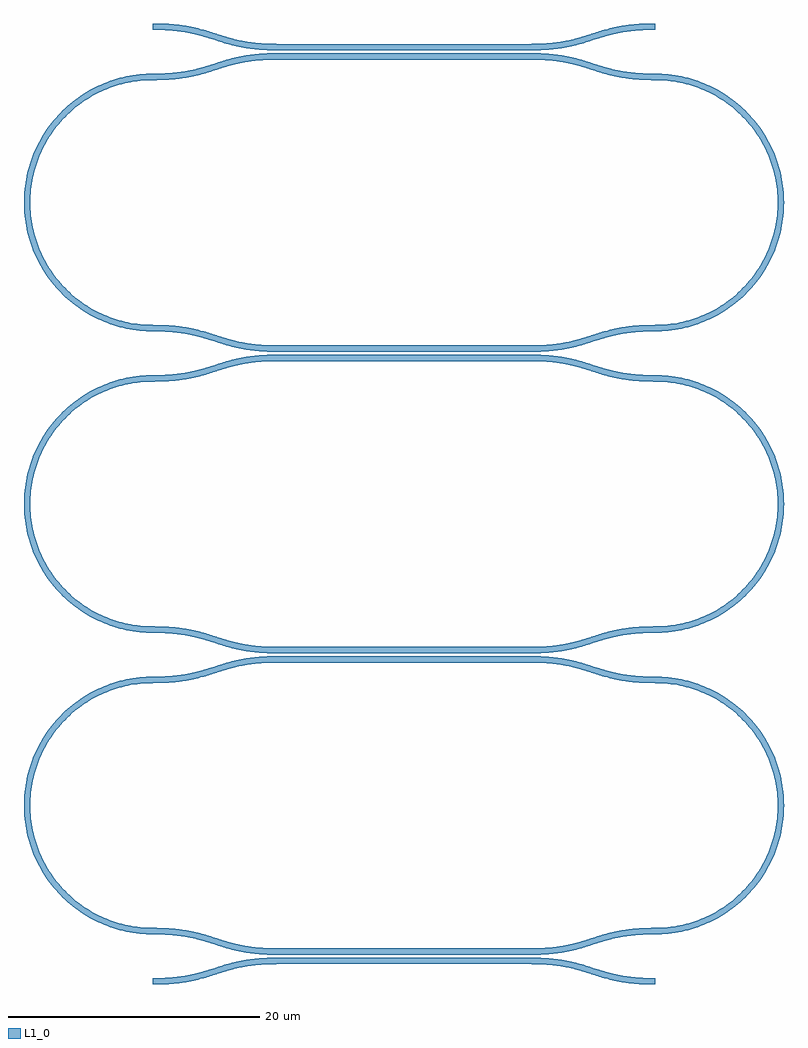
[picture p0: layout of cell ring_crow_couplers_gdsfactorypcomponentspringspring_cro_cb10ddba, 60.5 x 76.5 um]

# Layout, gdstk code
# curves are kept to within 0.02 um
from math import pi, radians
import gdstk
lib = gdstk.Library(unit=1e-6, precision=1e-09)
def P(c, l, *ps):  # polygons
    for p in ps: c.add(gdstk.Polygon(p, *l))
L1_0 = (1, 0)

coupler_gdsfactorypcompo = lib.new_cell('coupler_gdsfactorypcomponentspcouplerspcoupler_G0p236_L_75dd060a')
P(coupler_gdsfactorypcompo, L1_0, [(-10,-1.882),(-10,-1.382),(-8.633,-1.335),(-7.417,-1.193),(-6.249,-0.938),(-4.05,-0.258),(-3.065,-0.019),(-1.652,0.182),(-0.303,0.248),(20,0.25),(21.144,0.219),(22.346,0.103),(23.349,-0.08),(24.296,-0.33),(26.086,-0.893),(27.222,-1.159),(28.511,-1.326),(30,-1.382),(30,-1.882),(28.856,-1.851),(27.877,-1.764),(27.032,-1.632),(26.291,-1.466),(23.994,-0.762),(23.059,-0.528),(22.062,-0.364),(20.854,-0.267),(-0.297,-0.252),(-1.725,-0.327),(-3.059,-0.528),(-3.994,-0.762),(-6.034,-1.397),(-7.335,-1.686),(-8.597,-1.834)],
  [(0,0.486),(-1.403,0.534),(-2.665,0.682),(-3.796,0.925),(-6.086,1.629),(-7.126,1.877),(-8.511,2.062),(-10,2.118),(-10,2.618),(-8.597,2.57),(-7.335,2.422),(-6.204,2.179),(-3.914,1.475),(-2.874,1.227),(-1.489,1.042),(0,0.986),(20,0.986),(21.116,1.016),(22.17,1.114),(23.24,1.303),(24.152,1.545),(25.95,2.11),(27.032,2.368),(28.348,2.55),(30,2.618),(30,2.118),(28.511,2.062),(27.222,1.895),(26.086,1.629),(24.296,1.066),(23.532,0.858),(22.56,0.665),(21.403,0.534),(20,0.486)])

bend_circular_gdsfactory = lib.new_cell('bend_circular_gdsfactorypcomponentspbendspbend_circular_35685adf')
P(bend_circular_gdsfactory, L1_0, [(0,-0.25),(0,0.25),(1.003,0.302),(1.994,0.456),(3.203,0.791),(4.133,1.169),(5.019,1.641),(5.649,2.053),(6.246,2.513),(6.805,3.018),(7.487,3.754),(7.947,4.351),(8.359,4.981),(8.721,5.641),(9.209,6.797),(9.489,7.761),(9.669,8.748),(9.75,10),(10.25,10),(10.196,8.946),(10.084,8.162),(9.842,7.135),(9.495,6.139),(9.169,5.417),(8.649,4.499),(8.037,3.639),(7.341,2.846),(6.566,2.129),(5.722,1.496),(4.817,0.953),(3.861,0.505),(2.865,0.158),(1.838,-0.084),(1.054,-0.196)])

ring_crow_couplers_gdsfa = lib.new_cell('ring_crow_couplers_gdsfactorypcomponentspringspring_cro_cb10ddba')
ring_crow_couplers_gdsfa.add(gdstk.Reference(coupler_gdsfactorypcompo, (0,0)))
ring_crow_couplers_gdsfa.add(gdstk.Reference(coupler_gdsfactorypcompo, (0,24)))
ring_crow_couplers_gdsfa.add(gdstk.Reference(coupler_gdsfactorypcompo, (0,48)))
ring_crow_couplers_gdsfa.add(gdstk.Reference(coupler_gdsfactorypcompo, (0,72)))
ring_crow_couplers_gdsfa.add(gdstk.Reference(bend_circular_gdsfactory, (30,2.368)))
ring_crow_couplers_gdsfa.add(gdstk.Reference(bend_circular_gdsfactory, (40,12.368), rotation=pi/2))
ring_crow_couplers_gdsfa.add(gdstk.Reference(bend_circular_gdsfactory, (-10,22.368), rotation=pi))
ring_crow_couplers_gdsfa.add(gdstk.Reference(bend_circular_gdsfactory, (-20,12.368), rotation=3*pi/2))
ring_crow_couplers_gdsfa.add(gdstk.Reference(bend_circular_gdsfactory, (30,26.368)))
ring_crow_couplers_gdsfa.add(gdstk.Reference(bend_circular_gdsfactory, (40,36.368), rotation=pi/2))
ring_crow_couplers_gdsfa.add(gdstk.Reference(bend_circular_gdsfactory, (-10,46.368), rotation=pi))
ring_crow_couplers_gdsfa.add(gdstk.Reference(bend_circular_gdsfactory, (-20,36.368), rotation=3*pi/2))
ring_crow_couplers_gdsfa.add(gdstk.Reference(bend_circular_gdsfactory, (30,50.368)))
ring_crow_couplers_gdsfa.add(gdstk.Reference(bend_circular_gdsfactory, (40,60.368), rotation=pi/2))
ring_crow_couplers_gdsfa.add(gdstk.Reference(bend_circular_gdsfactory, (-10,70.368), rotation=pi))
ring_crow_couplers_gdsfa.add(gdstk.Reference(bend_circular_gdsfactory, (-20,60.368), rotation=3*pi/2))

lib.write_gds('ring_crow_couplers_gdsfactorypcomponentspringspring_cro_cb10ddba.gds')
